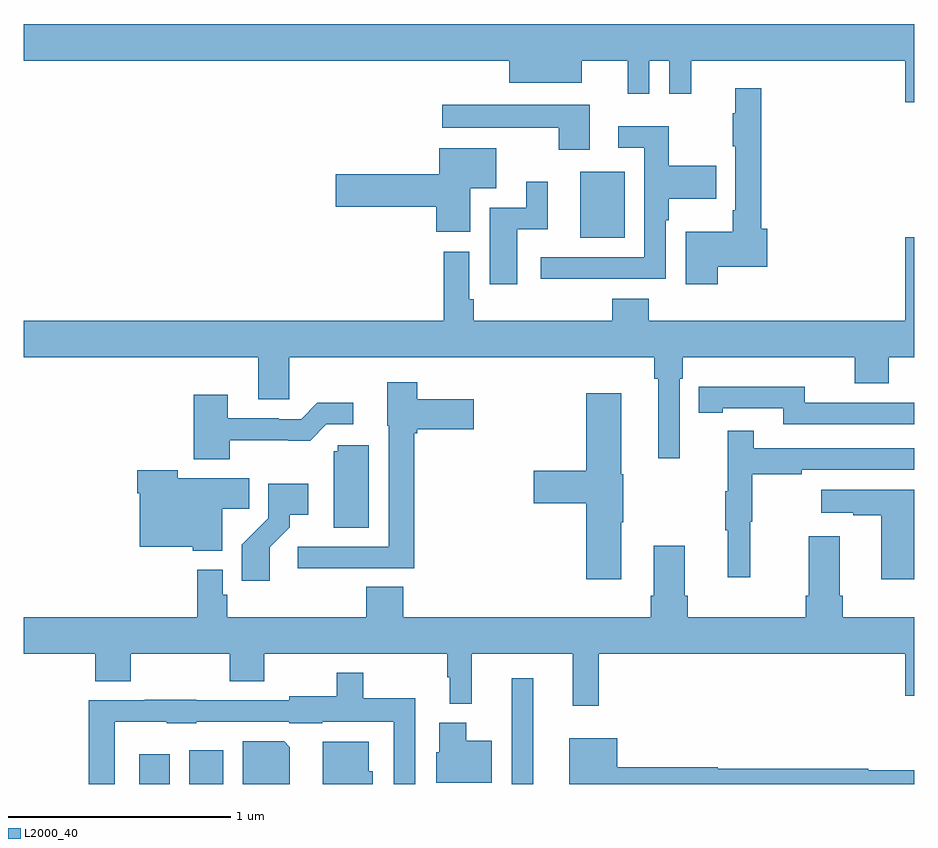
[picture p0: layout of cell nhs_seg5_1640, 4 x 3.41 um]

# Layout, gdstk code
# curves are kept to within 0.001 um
import gdstk
lib = gdstk.Library(unit=1e-6, precision=1e-09)
def R(c, l, rs):  # rectangles x0, y0, x1, y1
    for r in rs: c.add(gdstk.rectangle(r[:2], r[2:], *l))
def P(c, l, *ps):  # polygons
    for p in ps: c.add(gdstk.Polygon(p, *l))
L2000_40 = (2000, 40)

nhs_seg5_1640 = lib.new_cell('nhs_seg5_1640')
R(nhs_seg5_1640, L2000_40, [(209.519,898.799,209.656,898.933), (209.744,898.799,209.896,898.951), (211.191,898.799,211.288,899.275), (211.499,901.253,211.699,901.549)])
P(nhs_seg5_1640, L2000_40, [(213,902.212),(209,902.212),(209,902.048),(211.181,902.048),(211.181,901.949),(211.507,901.949),(211.507,902.048),(211.712,902.048),(211.712,901.899),(211.809,901.899),(211.809,902.048),(211.899,902.048),(211.899,901.899),(211.997,901.899),(211.997,902.048),(212.96,902.048),(212.96,901.86),(213,901.86)],
  [(212.117,901.121),(212.339,901.121),(212.339,901.292),(212.312,901.292),(212.312,901.924),(212.195,901.924),(212.195,901.811),(212.184,901.811),(212.184,901.663),(212.196,901.663),(212.196,901.375),(212.184,901.375),(212.184,901.279),(211.973,901.279),(211.973,901.044),(212.117,901.044)],
  [(211.543,901.849),(210.879,901.849),(210.879,901.745),(211.403,901.745),(211.403,901.647),(211.543,901.647)],
  [(211.559,901.068),(211.884,901.068),(211.884,901.331),(211.897,901.331),(211.897,901.427),(212.111,901.427),(212.111,901.575),(211.897,901.575),(211.897,901.753),(211.671,901.753),(211.671,901.656),(211.788,901.656),(211.788,901.164),(211.323,901.164),(211.323,901.067),(211.559,901.067)],
  [(211.006,901.475),(211.123,901.475),(211.123,901.654),(210.866,901.654),(210.866,901.538),(210.402,901.538),(210.402,901.391),(210.854,901.391),(210.854,901.278),(211.006,901.278)],
  [(211.216,901.29),(211.354,901.29),(211.354,901.504),(211.256,901.504),(211.256,901.386),(211.094,901.386),(211.094,901.044),(211.216,901.044)],
  [(211.947,900.62),(211.961,900.62),(211.961,900.716),(212.732,900.716),(212.732,900.599),(212.885,900.599),(212.885,900.716),(213,900.716),(213,901.255),(212.96,901.255),(212.96,900.88),(211.808,900.88),(211.808,900.979),(211.643,900.979),(211.643,900.88),(211.022,900.88),(211.022,900.976),(211.002,900.976),(211.002,901.189),(210.886,901.189),(210.886,900.88),(209,900.88),(209,900.716),(210.053,900.716),(210.053,900.526),(210.192,900.526),(210.192,900.716),(211.831,900.716),(211.831,900.62),(211.85,900.62),(211.85,900.261),(211.947,900.261)],
  [(210.455,899.769),(210.755,899.769),(210.755,900.374),(210.768,900.374),(210.768,900.392),(211.021,900.392),(211.021,900.526),(210.768,900.526),(210.768,900.604),(210.632,900.604),(210.632,900.408),(210.639,900.408),(210.639,899.865),(210.231,899.865),(210.231,899.767),(210.455,899.767)],
  [(213,900.512),(212.968,900.512),(212.968,900.51),(212.508,900.51),(212.508,900.583),(212.14,900.583),(212.14,900.582),(212.032,900.582),(212.032,900.466),(212.14,900.466),(212.14,900.486),(212.412,900.486),(212.412,900.414),(213,900.414)],
  [(211.684,899.975),(211.692,899.975),(211.692,900.189),(211.684,900.189),(211.684,900.553),(211.526,900.553),(211.526,900.206),(211.29,900.206),(211.29,900.059),(211.526,900.059),(211.526,899.718),(211.684,899.718)],
  [(209.925,900.342),(210.287,900.341),(210.36,900.414),(210.481,900.414),(210.481,900.511),(210.319,900.511),(210.246,900.438),(210.146,900.438),(210.146,900.441),(209.917,900.441),(209.917,900.547),(209.765,900.547),(209.765,900.257),(209.925,900.257)],
  [(212.264,899.976),(212.272,899.976),(212.272,900.19),(212.495,900.19),(212.495,900.21),(213,900.21),(213,900.306),(212.279,900.306),(212.279,900.385),(212.162,900.385),(212.162,900.113),(212.151,900.113),(212.151,899.939),(212.162,899.939),(212.162,899.727),(212.264,899.727)],
  [(210.55,900.321),(210.411,900.321),(210.411,900.294),(210.392,900.294),(210.392,899.95),(210.55,899.95)],
  [(209.893,900.034),(210.014,900.034),(210.014,900.172),(209.693,900.172),(209.693,900.208),(209.51,900.208),(209.51,900.104),(209.522,900.104),(209.522,899.864),(209.76,899.864),(209.76,899.846),(209.893,899.846)],
  [(210.106,899.863),(210.196,899.953),(210.196,900.008),(210.277,900.008),(210.277,900.148),(210.099,900.148),(210.099,899.993),(209.98,899.874),(209.98,899.712),(210.106,899.712)],
  [(213,900.121),(212.583,900.121),(212.583,900.017),(212.726,900.017),(212.726,900.007),(212.852,900.007),(212.852,899.718),(213,899.718)],
  [(212.96,899.196),(213,899.196),(213,899.548),(212.678,899.548),(212.678,899.644),(212.665,899.644),(212.665,899.911),(212.525,899.911),(212.525,899.644),(212.513,899.644),(212.513,899.548),(211.982,899.548),(211.982,899.644),(211.969,899.644),(211.969,899.869),(211.829,899.869),(211.829,899.644),(211.817,899.644),(211.817,899.548),(210.704,899.548),(210.704,899.684),(210.539,899.684),(210.539,899.548),(209.915,899.548),(209.915,899.649),(209.895,899.649),(209.895,899.761),(209.779,899.761),(209.779,899.548),(209,899.548),(209,899.384),(209.321,899.384),(209.321,899.26),(209.481,899.26),(209.481,899.384),(209.926,899.384),(209.926,899.26),(210.081,899.26),(210.081,899.384),(210.903,899.384),(210.903,899.278),(210.914,899.278),(210.914,899.159),(211.013,899.159),(211.013,899.384),(211.466,899.384),(211.466,899.151),(211.583,899.151),(211.583,899.384),(212.96,899.384)],
  [(209.409,899.078),(209.643,899.078),(209.643,899.072),(209.775,899.072),(209.775,899.079),(210.192,899.079),(210.192,899.072),(210.342,899.072),(210.342,899.078),(210.663,899.078),(210.663,898.799),(210.759,898.799),(210.759,899.183),(210.526,899.183),(210.526,899.299),(210.405,899.299),(210.405,899.194),(210.192,899.194),(210.192,899.175),(209.775,899.175),(209.775,899.177),(209.543,899.177),(209.543,899.175),(209.293,899.175),(209.293,898.799),(209.409,898.799)],
  [(211.102,898.993),(210.988,898.993),(210.988,899.074),(210.866,899.074),(210.866,898.941),(210.854,898.941),(210.854,898.805),(211.102,898.805)],
  [(213,898.861),(212.792,898.861),(212.792,898.868),(212.118,898.868),(212.118,898.874),(211.666,898.874),(211.666,899.005),(211.451,899.005),(211.451,898.799),(213,898.799)],
  [(210.196,898.964),(210.17,898.99),(209.984,898.99),(209.984,898.799),(210.196,898.799)],
  [(210.568,898.857),(210.55,898.857),(210.55,898.988),(210.344,898.988),(210.344,898.799),(210.568,898.799)])

lib.write_gds('nhs_seg5_1640.gds')
